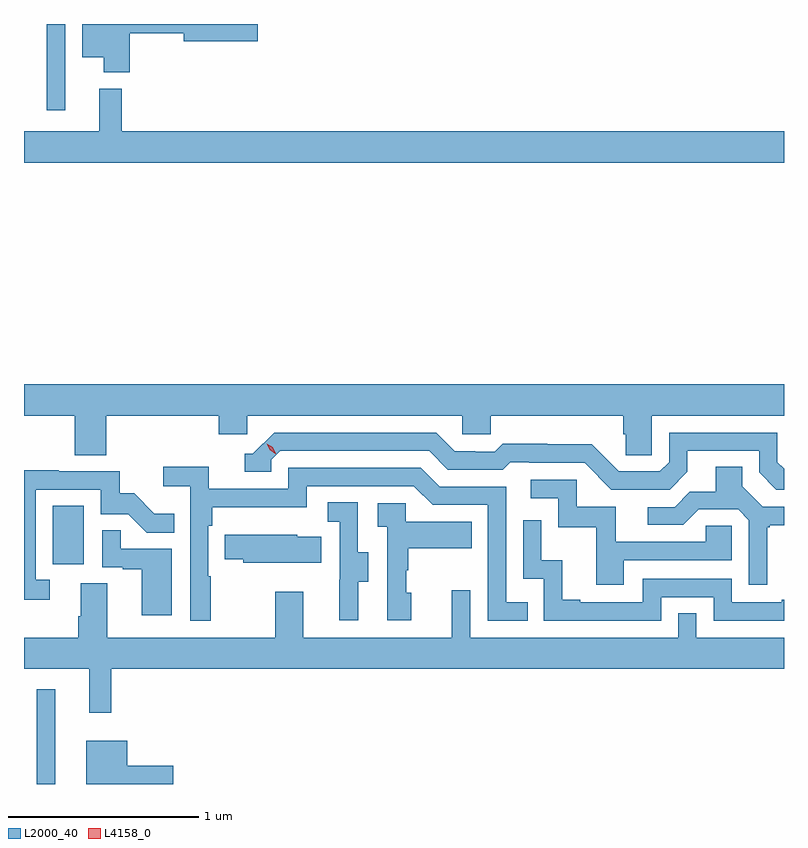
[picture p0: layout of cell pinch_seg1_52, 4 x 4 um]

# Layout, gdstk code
import gdstk
lib = gdstk.Library(unit=1e-6, precision=1e-09)
def R(c, l, rs):  # rectangles x0, y0, x1, y1
    for r in rs: c.add(gdstk.rectangle(r[:2], r[2:], *l))
def P(c, l, *ps):  # polygons
    for p in ps: c.add(gdstk.Polygon(p, *l))
L2000_40 = (2000, 40)
L4158_0 = (4158, 0)

pinch_seg1_52 = lib.new_cell('pinch_seg1_52')
R(pinch_seg1_52, L2000_40, [(1066.335,576.433,1066.432,576.931), (1066.418,577.59,1066.582,577.897), (1066.388,579.978,1066.485,580.433)])
P(pinch_seg1_52, L2000_40, [(1066.823,580.384),(1067.108,580.384),(1067.108,580.342),(1067.497,580.342),(1067.497,580.433),(1066.574,580.433),(1066.574,580.259),(1066.688,580.259),(1066.688,580.178),(1066.823,580.178)],
  [(1070.267,579.868),(1066.781,579.868),(1066.781,580.093),(1066.664,580.093),(1066.664,579.868),(1066.267,579.868),(1066.267,579.704),(1070.267,579.704)],
  [(1066.7,578.372),(1067.291,578.372),(1067.291,578.274),(1067.442,578.274),(1067.442,578.372),(1068.573,578.372),(1068.573,578.274),(1068.723,578.274),(1068.723,578.372),(1069.421,578.372),(1069.421,578.274),(1069.435,578.274),(1069.435,578.164),(1069.572,578.164),(1069.572,578.372),(1070.267,578.372),(1070.267,578.536),(1066.267,578.536),(1066.267,578.372),(1066.535,578.372),(1066.535,578.164),(1066.7,578.164)],
  [(1069.759,578.077),(1069.759,578.187),(1070.136,578.187),(1070.136,578.073),(1070.226,577.983),(1070.267,577.983),(1070.267,578.092),(1070.232,578.127),(1070.232,578.283),(1069.662,578.283),(1069.662,578.127),(1069.614,578.079),(1069.398,578.079),(1069.256,578.221),(1069.02,578.221),(1069.02,578.224),(1068.787,578.224),(1068.745,578.181),(1068.642,578.181),(1068.642,578.184),(1068.535,578.184),(1068.436,578.283),(1067.583,578.283),(1067.472,578.172),(1067.429,578.172),(1067.429,578.076),(1067.568,578.076),(1067.568,578.139),(1067.616,578.187),(1068.399,578.187),(1068.498,578.088),(1068.787,578.088),(1068.826,578.127),(1068.925,578.127),(1068.925,578.124),(1069.218,578.124),(1069.359,577.983),(1069.665,577.983)],
  [(1070.179,577.785),(1070.191,577.785),(1070.191,577.796),(1070.267,577.796),(1070.267,577.893),(1070.154,577.893),(1070.047,578),(1070.047,578.102),(1069.907,578.102),(1069.907,577.97),(1069.772,577.97),(1069.692,577.89),(1069.551,577.89),(1069.551,577.797),(1069.738,577.797),(1069.819,577.878),(1070.025,577.878),(1070.082,577.821),(1070.082,577.482),(1070.179,577.482)],
  [(1067.251,577.526),(1067.238,577.526),(1067.238,577.793),(1067.258,577.793),(1067.258,577.889),(1067.754,577.889),(1067.754,578.001),(1068.318,578.001),(1068.417,577.902),(1068.708,577.902),(1068.708,577.293),(1068.917,577.293),(1068.917,577.389),(1068.804,577.389),(1068.804,577.998),(1068.454,577.998),(1068.355,578.097),(1067.658,578.097),(1067.658,577.986),(1067.24,577.986),(1067.24,578.102),(1067.001,578.102),(1067.001,578),(1067.142,578),(1067.142,577.293),(1067.251,577.293)],
  [(1066.402,577.509),(1066.329,577.509),(1066.329,577.983),(1066.671,577.983),(1066.671,577.854),(1066.815,577.854),(1066.913,577.756),(1067.057,577.756),(1067.057,577.855),(1066.953,577.855),(1066.846,577.962),(1066.77,577.962),(1066.77,578.079),(1066.451,578.079),(1066.451,578.084),(1066.267,578.084),(1066.267,577.404),(1066.402,577.404)],
  [(1069.423,577.611),(1069.992,577.611),(1069.992,577.791),(1069.855,577.791),(1069.855,577.707),(1069.381,577.707),(1069.381,577.893),(1069.176,577.893),(1069.176,578.034),(1068.933,578.034),(1068.933,577.938),(1069.08,577.938),(1069.08,577.785),(1069.279,577.785),(1069.279,577.482),(1069.423,577.482)],
  [(1068.025,577.498),(1068.079,577.498),(1068.079,577.653),(1068.024,577.653),(1068.024,577.916),(1067.865,577.916),(1067.865,577.813),(1067.928,577.813),(1067.928,577.509),(1067.927,577.509),(1067.927,577.296),(1068.025,577.296)],
  [(1068.304,577.44),(1068.279,577.44),(1068.279,577.559),(1068.289,577.559),(1068.289,577.673),(1068.623,577.673),(1068.623,577.813),(1068.276,577.813),(1068.276,577.911),(1068.129,577.911),(1068.129,577.787),(1068.18,577.787),(1068.18,577.296),(1068.304,577.296)],
  [(1069.62,577.416),(1069.896,577.416),(1069.896,577.293),(1070.267,577.293),(1070.267,577.402),(1070.255,577.402),(1070.255,577.389),(1069.992,577.389),(1069.992,577.512),(1069.524,577.512),(1069.524,577.389),(1069.195,577.389),(1069.195,577.402),(1069.1,577.402),(1069.1,577.61),(1068.99,577.61),(1068.99,577.822),(1068.894,577.822),(1068.894,577.512),(1069.002,577.512),(1069.002,577.293),(1069.62,577.293)],
  [(1067.044,577.671),(1066.775,577.671),(1066.775,577.769),(1066.68,577.769),(1066.68,577.575),(1066.787,577.575),(1066.787,577.563),(1066.886,577.563),(1066.886,577.32),(1067.044,577.32)],
  [(1067.831,577.735),(1067.706,577.735),(1067.706,577.744),(1067.323,577.744),(1067.323,577.615),(1067.421,577.615),(1067.421,577.598),(1067.831,577.598)],
  [(1066.727,577.04),(1070.267,577.04),(1070.267,577.204),(1069.806,577.204),(1069.806,577.331),(1069.71,577.331),(1069.71,577.204),(1068.615,577.204),(1068.615,577.453),(1068.518,577.453),(1068.518,577.204),(1067.737,577.204),(1067.737,577.444),(1067.59,577.444),(1067.59,577.204),(1066.705,577.204),(1066.705,577.49),(1066.565,577.49),(1066.565,577.316),(1066.553,577.316),(1066.553,577.204),(1066.267,577.204),(1066.267,577.04),(1066.61,577.04),(1066.61,576.807),(1066.727,576.807)],
  [(1067.053,576.53),(1066.81,576.53),(1066.81,576.661),(1066.595,576.661),(1066.595,576.433),(1067.053,576.433)])
P(pinch_seg1_52, L4158_0, [(1067.59,578.172),(1067.56,578.192),(1067.544,578.224),(1067.544,578.224),(1067.545,578.224),(1067.575,578.205),(1067.591,578.172),(1067.591,578.172)])

lib.write_gds('pinch_seg1_52.gds')
